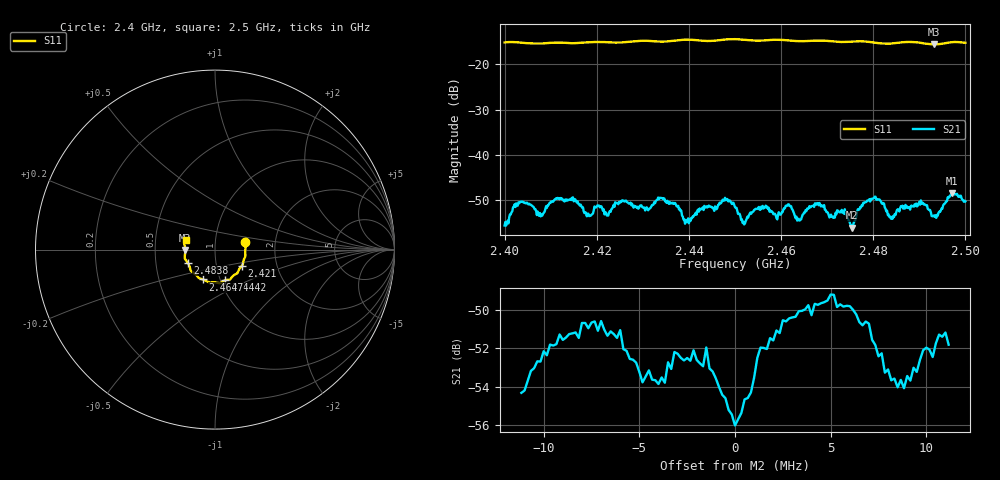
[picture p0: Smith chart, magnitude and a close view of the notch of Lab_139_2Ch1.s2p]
# Hz S RI R
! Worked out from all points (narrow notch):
!   601 points, 2.4 GHz to 2.5 GHz, reference 50 ohm
!   highest |S21| = -48.45 dB at 2.4972 GHz (marker M1); lowest = -56.0 dB at 2.4753 GHz (marker M2)
!   notch at M2: 4.5 dB deep, 1.88 MHz wide at half that depth
!   lowest |S11| = -15.6 dB at 2.4932 GHz (marker M3), VSWR 1.40, Z = 35.8 - j0.102 ohm
!   |S11| at or under -10 dB: start of sweep to end of sweep
!   S12 and S22 are empty: the file has one direction only
!   S11 on the Smith chart (normalised r, x): 2.4 GHz: 1.40, +0.12; 2.421 GHz: 1.33, -0.24; 2.4442 GHz: 1.05, -0.37; 2.4647 GHz: 0.83, -0.29; 2.4838 GHz: 0.73, -0.11; 2.5 GHz: 0.71, +0.08
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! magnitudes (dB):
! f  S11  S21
! 2.4 GHz  -15.2  -55.5
! 2.4035 GHz  -15.3  -50.3
! 2.4078 GHz  -15.5  -53.5
! 2.4113 GHz  -15.2  -49.6
! 2.4167 GHz  -15.3  -51.3
! 2.421 GHz  -15.1  -51.3
! 2.4333 GHz  -15.0  -49.4
! 2.4395 GHz  -14.6  -54.8
! 2.4442 GHz  -14.9  -51.4
! 2.45 GHz  -14.5  -51.5
! 2.4518 GHz  -14.6  -54.7
! 2.4565 GHz  -14.8  -51.6
! 2.4647 GHz  -14.9  -53.2
! 2.4667 GHz  -14.8  -51.3
! 2.4753 GHz  -15.0  -56.0
! 2.48 GHz  -15.2  -49.6
! 2.4833 GHz  -15.5  -53.1
! 2.4838 GHz  -15.5  -54.0
! 2.4903 GHz  -15.3  -50.0
! 2.4932 GHz  -15.6  -53.3
! 2.4972 GHz  -15.1  -48.5
! 2.5 GHz  -15.3  -50.2
